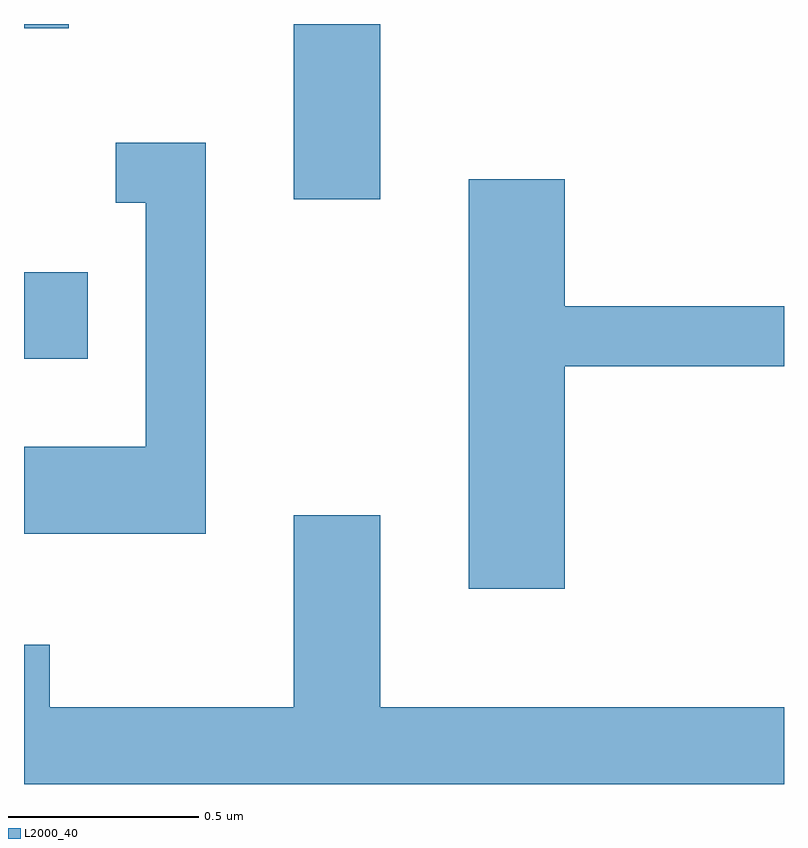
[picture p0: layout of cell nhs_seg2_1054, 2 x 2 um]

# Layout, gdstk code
import gdstk
lib = gdstk.Library(unit=1e-6, precision=1e-09)
def R(c, l, rs):  # rectangles x0, y0, x1, y1
    for r in rs: c.add(gdstk.rectangle(r[:2], r[2:], *l))
def P(c, l, *ps):  # polygons
    for p in ps: c.add(gdstk.Polygon(p, *l))
L2000_40 = (2000, 40)

nhs_seg2_1054 = lib.new_cell('nhs_seg2_1054')
R(nhs_seg2_1054, L2000_40, [(192.611,1073.921,192.779,1074.149), (193.321,1074.341,193.549,1074.802), (192.611,1074.791,192.729,1074.802)])
P(nhs_seg2_1054, L2000_40, [(193.089,1074.489),(192.853,1074.489),(192.853,1074.331),(192.931,1074.331),(192.931,1073.689),(192.611,1073.689),(192.611,1073.461),(193.089,1073.461)],
  [(194.034,1073.901),(194.611,1073.901),(194.611,1074.059),(194.034,1074.059),(194.034,1074.394),(193.781,1074.394),(193.781,1073.316),(194.034,1073.316)],
  [(194.611,1073.004),(193.549,1073.004),(193.549,1073.509),(193.321,1073.509),(193.321,1073.004),(192.679,1073.004),(192.679,1073.169),(192.611,1073.169),(192.611,1072.802),(194.611,1072.802)])

lib.write_gds('nhs_seg2_1054.gds')
